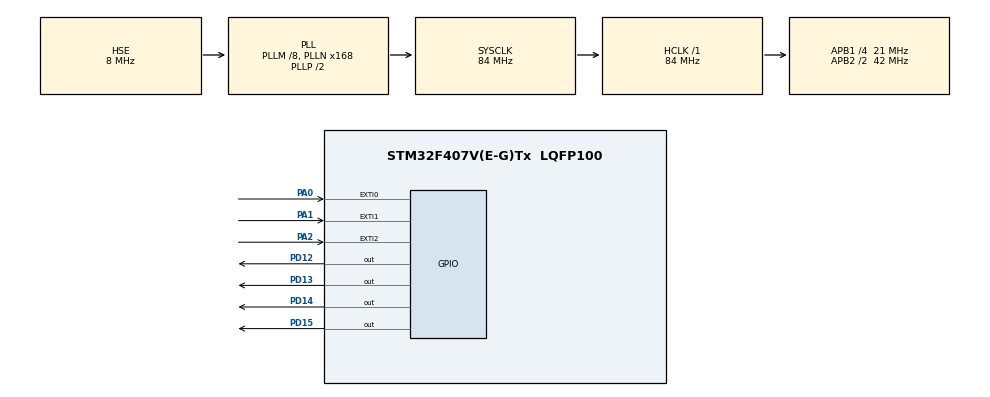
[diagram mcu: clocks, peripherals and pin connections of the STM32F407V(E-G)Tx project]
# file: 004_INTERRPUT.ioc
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Mcu.Family=STM32F4
Mcu.Name=STM32F407V(E-G)Tx
Mcu.Package=LQFP100
NVIC.EXTI0_IRQn=true\:0\:0\:false\:false\:true\:true\:true
NVIC.EXTI1_IRQn=true\:0\:0\:false\:false\:true\:true\:true
NVIC.EXTI2_IRQn=true\:0\:0\:false\:false\:true\:true\:true
NVIC.PriorityGroup=NVIC_PRIORITYGROUP_4
PA0-WKUP.GPIO_ModeDefaultEXTI=GPIO_MODE_IT_RISING
PA0-WKUP.GPIO_PuPd=GPIO_PULLDOWN
PA0-WKUP.Signal=GPXTI0
PA1.GPIO_ModeDefaultEXTI=GPIO_MODE_IT_RISING
PA1.GPIO_PuPd=GPIO_PULLDOWN
PA1.Signal=GPXTI1
PA2.GPIO_PuPd=GPIO_PULLDOWN
PA2.Signal=GPXTI2
PD12.GPIO_Speed=GPIO_SPEED_FREQ_VERY_HIGH
PD12.Signal=GPIO_Output
PD13.GPIO_Speed=GPIO_SPEED_FREQ_VERY_HIGH
PD13.Signal=GPIO_Output
PD14.GPIO_Speed=GPIO_SPEED_FREQ_VERY_HIGH
PD14.Signal=GPIO_Output
PD15.GPIO_Speed=GPIO_SPEED_FREQ_VERY_HIGH
PD15.Signal=GPIO_Output
PH0-OSC_IN.Mode=HSE-External-Oscillator
PH0-OSC_IN.Signal=RCC_OSC_IN
PH1-OSC_OUT.Mode=HSE-External-Oscillator
PH1-OSC_OUT.Signal=RCC_OSC_OUT
ProjectManager.HeapSize=0x200
ProjectManager.StackSize=0x400
ProjectManager.TargetToolchain=STM32CubeIDE
RCC.48MHZClocksFreq_Value=42000000
RCC.AHBFreq_Value=84000000
RCC.APB1CLKDivider=RCC_HCLK_DIV4
RCC.APB1Freq_Value=21000000
RCC.APB1TimFreq_Value=42000000
RCC.APB2CLKDivider=RCC_HCLK_DIV2
RCC.APB2Freq_Value=42000000
RCC.APB2TimFreq_Value=84000000
RCC.CortexFreq_Value=84000000
RCC.HCLKFreq_Value=84000000
RCC.HSE_VALUE=8000000
RCC.HSI_VALUE=16000000
RCC.LSE_VALUE=32768
RCC.PLLM=8
RCC.PLLN=168
RCC.PLLSourceVirtual=RCC_PLLSOURCE_HSE
RCC.SYSCLKFreq_VALUE=84000000
RCC.SYSCLKSource=RCC_SYSCLKSOURCE_PLLCLK
RCC.VCOOutputFreq_Value=168000000
board=custom

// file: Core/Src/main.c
/* USER CODE BEGIN Header */
/**
  ******************************************************************************
  * @file           : main.c
  * @brief          : Main program body
  ******************************************************************************
  * @attention
  *
  * <h2><center>&copy; Copyright (c) 2020 STMicroelectronics.
  * All rights reserved.</center></h2>
  *
  * This software component is licensed by ST under BSD 3-Clause license,
  * the "License"; You may not use this file except in compliance with the
  * License. You may obtain a copy of the License at:
  *                        opensource.org/licenses/BSD-3-Clause
  *
  ******************************************************************************
  */
/* USER CODE END Header */
#include "main.h"

/* USER CODE BEGIN Includes */

int count = 0, i = 0;

/* USER CODE END Includes */

void SystemClock_Config(void);
static void MX_GPIO_Init(void);

/* USER CODE BEGIN 0 */

void HAL_GPIO_EXTI_Callback(uint16_t GPIO_Pin)
{
	i++;

	if(HAL_GPIO_ReadPin(GPIOA, GPIO_PIN_0))
	{
		if(i==1)
			{
				count=1000;
			}
			else if(i==2)
			{
				count=750;
			}
			else if(i==3)
			{
				count=500;
			}
			else if(i==4)
			{
				count=250;
				i=0;
			}
	}
	else if(HAL_GPIO_ReadPin(GPIOA, GPIO_PIN_1))
	{
		count=2000;
		i=0;
	}
	else
	{
		count=3000;
		i=0;
	}
}

/* USER CODE END 0 */

int main(void)
{

  /* MCU Configuration--------------------------------------------------------*/

  /* Reset of all peripherals, Initializes the Flash interface and the Systick. */
    HAL_Init();

  /* Configure the system clock */
  SystemClock_Config();

  /* Initialize all configured peripherals */
  MX_GPIO_Init();

  /* Infinite loop */
  while (1)
  {

    /* USER CODE BEGIN 3 */
	  HAL_GPIO_TogglePin(GPIOD, GPIO_PIN_All);
	  HAL_Delay(count);
  }
  /* USER CODE END 3 */
}

void SystemClock_Config(void)
{
  RCC_OscInitTypeDef RCC_OscInitStruct = {0};
  RCC_ClkInitTypeDef RCC_ClkInitStruct = {0};

  /** Configure the main internal regulator output voltage
  */
  __HAL_RCC_PWR_CLK_ENABLE();
  __HAL_PWR_VOLTAGESCALING_CONFIG(PWR_REGULATOR_VOLTAGE_SCALE1);
  /** Initializes the RCC Oscillators according to the specified parameters
  * in the RCC_OscInitTypeDef structure.
  */
  RCC_OscInitStruct.OscillatorType = RCC_OSCILLATORTYPE_HSE;
  RCC_OscInitStruct.HSEState = RCC_HSE_ON;
  RCC_OscInitStruct.PLL.PLLState = RCC_PLL_ON;
  RCC_OscInitStruct.PLL.PLLSource = RCC_PLLSOURCE_HSE;
  RCC_OscInitStruct.PLL.PLLM = 8;
  RCC_OscInitStruct.PLL.PLLN = 168;
  RCC_OscInitStruct.PLL.PLLP = RCC_PLLP_DIV2;
  RCC_OscInitStruct.PLL.PLLQ = 4;
  if (HAL_RCC_OscConfig(&RCC_OscInitStruct) != HAL_OK)
  {
    Error_Handler();
  }
  /** Initializes the CPU, AHB and APB buses clocks
  */
  RCC_ClkInitStruct.ClockType = RCC_CLOCKTYPE_HCLK|RCC_CLOCKTYPE_SYSCLK
                              |RCC_CLOCKTYPE_PCLK1|RCC_CLOCKTYPE_PCLK2;
  RCC_ClkInitStruct.SYSCLKSource = RCC_SYSCLKSOURCE_PLLCLK;
  RCC_ClkInitStruct.AHBCLKDivider = RCC_SYSCLK_DIV1;
  RCC_ClkInitStruct.APB1CLKDivider = RCC_HCLK_DIV4;
  RCC_ClkInitStruct.APB2CLKDivider = RCC_HCLK_DIV2;

  if (HAL_RCC_ClockConfig(&RCC_ClkInitStruct, FLASH_LATENCY_2) != HAL_OK)
  {
    Error_Handler();
  }
}

static void MX_GPIO_Init(void)
{
  GPIO_InitTypeDef GPIO_InitStruct = {0};

  /* GPIO Ports Clock Enable */
  __HAL_RCC_GPIOH_CLK_ENABLE();
  __HAL_RCC_GPIOA_CLK_ENABLE();
  __HAL_RCC_GPIOD_CLK_ENABLE();

  /*Configure GPIO pin Output Level */
  HAL_GPIO_WritePin(GPIOD, GPIO_PIN_12|GPIO_PIN_13|GPIO_PIN_14|GPIO_PIN_15, GPIO_PIN_RESET);

  /*Configure GPIO pins : PA0 PA1 PA2 */
  GPIO_InitStruct.Pin = GPIO_PIN_0|GPIO_PIN_1|GPIO_PIN_2;
  GPIO_InitStruct.Mode = GPIO_MODE_IT_RISING;
  GPIO_InitStruct.Pull = GPIO_PULLDOWN;
  HAL_GPIO_Init(GPIOA, &GPIO_InitStruct);

  /*Configure GPIO pins : PD12 PD13 PD14 PD15 */
  GPIO_InitStruct.Pin = GPIO_PIN_12|GPIO_PIN_13|GPIO_PIN_14|GPIO_PIN_15;
  GPIO_InitStruct.Mode = GPIO_MODE_OUTPUT_PP;
  GPIO_InitStruct.Pull = GPIO_NOPULL;
  GPIO_InitStruct.Speed = GPIO_SPEED_FREQ_VERY_HIGH;
  HAL_GPIO_Init(GPIOD, &GPIO_InitStruct);

  /* EXTI interrupt init*/
  HAL_NVIC_SetPriority(EXTI0_IRQn, 0, 0);
  HAL_NVIC_EnableIRQ(EXTI0_IRQn);

  HAL_NVIC_SetPriority(EXTI1_IRQn, 0, 0);
  HAL_NVIC_EnableIRQ(EXTI1_IRQn);

  HAL_NVIC_SetPriority(EXTI2_IRQn, 0, 0);
  HAL_NVIC_EnableIRQ(EXTI2_IRQn);

}

void Error_Handler(void)
{
}

/************************ (C) COPYRIGHT STMicroelectronics *****END OF FILE****/
